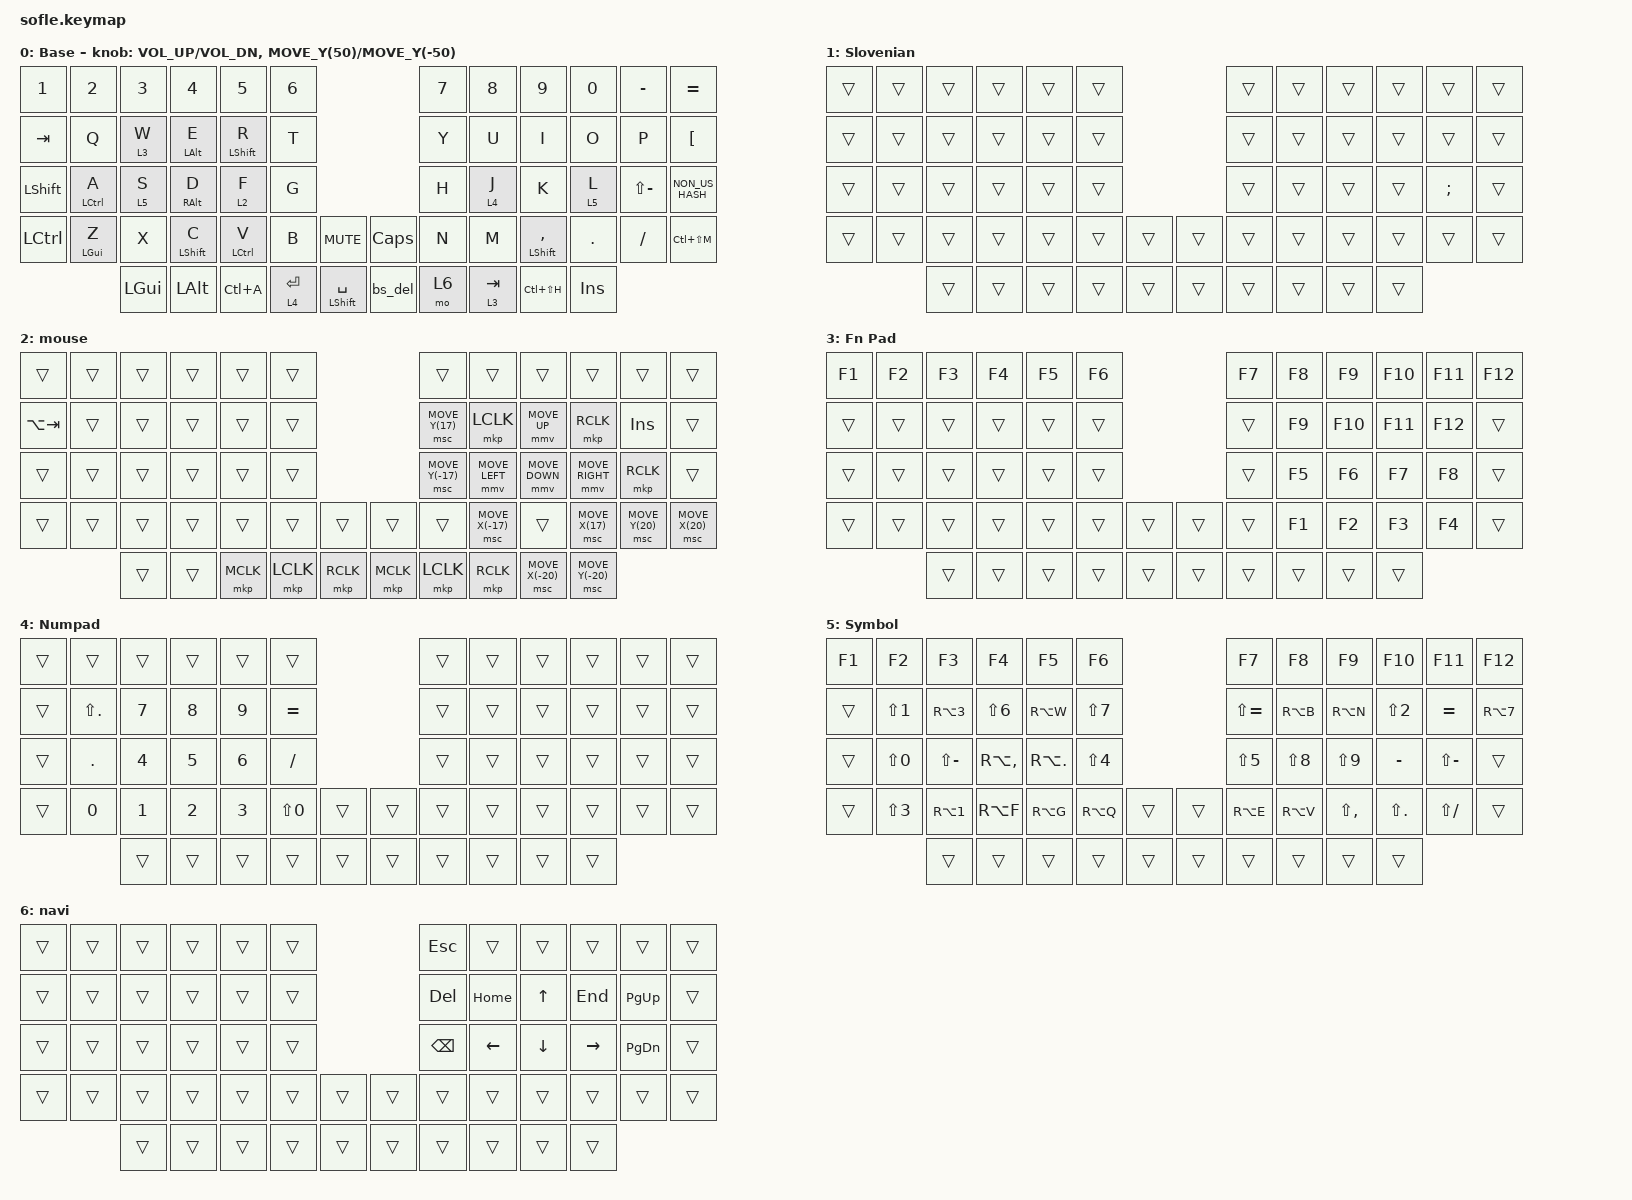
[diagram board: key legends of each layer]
/*
 * Copyright (c) 2020 The ZMK Contributors
 *
 * SPDX-License-Identifier: MIT 
 */

#include <dt-bindings/zmk/mouse.h>
#include <behaviors.dtsi>
#include <dt-bindings/zmk/bt.h>
#include <dt-bindings/zmk/keys.h>
#include <dt-bindings/zmk/pointing.h>
#include <dt-bindings/zmk/pointing.h>
#include <dt-bindings/zmk/pointing.h>

&nice_view_spi { cs-gpios = <&pro_micro 0 GPIO_ACTIVE_HIGH>; };
&mmv {
    time-to-max-speed-ms = <200>;
};

/ {
    combos {
        compatible = "zmk,combos";

        Lock {
            bindings = <&kp LG(LC(Q))>;
            key-positions = <0 11>;
        };

        bt_clear {
            bindings = <&bt BT_CLR>;
            key-positions = <12 13 21>;
        };
        bt_next {
            bindings = <&bt BT_NXT>;
            key-positions = <12 13 23>;
        };
        bt_prev {
            bindings = <&bt BT_PRV>;
            key-positions = <12 13 22>;
        };

        slovenian {
            bindings = <&tog 1>;
            key-positions = <23 35>;
        };

        backspace {
            bindings = <&kp BACKSPACE>;
            key-positions = <10 11>;
        };

        left_backspace {
            bindings = <&kp BACKSPACE>;
            key-positions = <4 5>;
        };

        left_del {
            bindings = <&kp DELETE>;
            key-positions = <3 4>;
        };

        del {
            bindings = <&kp DELETE>;
            key-positions = <21 10>;
        };

        sleep {
            bindings = <&kp LS(LA(S))>;
            key-positions = <49 36>;
        };

        win-print-screen {
            bindings = <&kp LS(LC(X))>;
            key-positions = <11 23>;
        };

        email {
            bindings = <&email>;
            key-positions = <2 3 4>;
        };

        mac-print-screen {
            bindings = <&kp LS(LG(NUMBER_4))>;
            key-positions = <0 12>;
        };

        esc {
            bindings = <&kp ESCAPE>;
            key-positions = <0 1>;
        };

        esc2 {
            bindings = <&kp ESCAPE>;
            key-positions = <6 7>;
        };

        esc3 {
            bindings = <&kp ESCAPE>;
            key-positions = <31 32 33>;
        };

        select-all {
            bindings = <&kp LC(A)>;
            key-positions = <31 32 33 34>;
        };

        caps-word {
            bindings = <&caps_word>;
            key-positions = <28 31>;
        };

      

        mouse {
            bindings = <&mo 3>;
            key-positions = <25 26 27 28>;
        };



        alt_tab {
            bindings = <&kp LA(TAB)>;
            key-positions = <12 13>;
        };

        alt_tab2 {
            bindings = <&kp LA(TAB)>;
            key-positions = <28 27 26>;
        };

      

    };

    behaviors {
        ht_h: ht_h {
            compatible = "zmk,behavior-hold-tap";
            bindings = <&kp>, <&kp>;
            flavor = "hold-preferred";
            #binding-cells = <2>;
            tapping-term-ms = <180>;
            hold-while-undecided;
        };

        ht_b: ht_b {
            compatible = "zmk,behavior-hold-tap";
            bindings = <&kp>, <&kp>;
            flavor = "balanced";
            #binding-cells = <2>;
            tapping-term-ms = <180>;
            hold-while-undecided;
        };

        hm: hm {
            compatible = "zmk,behavior-hold-tap";
            #binding-cells = <2>;
            tapping-term-ms = <250>;
            quick-tap-ms = <0>;
            flavor = "tap-preferred";
            bindings = <&kp>, <&kp>;
        };

        sticky: sticky {
            compatible = "zmk,behavior-sticky-key";
            bindings = <&kp>;
            #binding-cells = <1>;
            release-after-ms = <1000>;
            quick-release;
        };

        ht_bs_del: ht_bs_del {
            compatible = "zmk,behavior-hold-tap";
            bindings = <&mo>, <&bs_del>;
            flavor = "balanced";
            #binding-cells = <2>;
            tapping-term-ms = <180>;
            hold-while-undecided;
        };

        bs_del: bs_del {
            compatible = "zmk,behavior-mod-morph";
            bindings = <&kp BACKSPACE>, <&kp DELETE>;
            #binding-cells = <0>;
            mods = <(MOD_LSFT|MOD_RSFT)>;
        };

        qu_excl: qu_excl {
            compatible = "zmk,behavior-mod-morph";
            bindings = <&kp LS(MINUS)>, <&kp LS(N1)>;
            #binding-cells = <0>;
            mods = <(MOD_LSFT|MOD_RSFT)>;
        };

        htl_h: htl_h {
            compatible = "zmk,behavior-hold-tap";
            bindings = <&mo>, <&kp>;
            flavor = "hold-preferred";
            #binding-cells = <2>;
            tapping-term-ms = <180>;
            hold-while-undecided;
        };

        htl_b: htl_b {
            compatible = "zmk,behavior-hold-tap";
            bindings = <&mo>, <&kp>;
            flavor = "balanced";
            #binding-cells = <2>;
            tapping-term-ms = <180>;
            hold-while-undecided;
        };

       htl_t: htl_t {
            compatible = "zmk,behavior-hold-tap";
            bindings = <&mo>, <&kp>;
            #binding-cells = <2>;
            tapping-term-ms = <250>;
            quick-tap-ms = <0>;
            flavor = "tap-preferred";
        };

       scroll: scroll {
            compatible = "zmk,behavior-sensor-rotate-var";
            #sensor-binding-cells = <2>;
            bindings = <&msc>, <&msc>;
            tap-ms = <150>;     
        };

        mmvf:mmvf {
            compatible = "zmk,behavior-input-two-axis";
            #binding-cells = <1>;
            x-input-code = <INPUT_REL_X>;
            y-input-code = <INPUT_REL_Y>;
            time-to-max-speed-ms = <200>;
            acceleration-exponent = <1>;
        };
    };

    macros {
        email: email {
            compatible = "zmk,behavior-macro";
            #binding-cells = <0>;
            bindings = <&kp E &kp M &kp A &kp I &kp L &kp RA(V) &kp P &kp E &kp T &kp E &kp R &kp D &kp O &kp L &kp E &kp N &kp C &kp DOT &kp S &kp I>;
        };
    };

    keymap {
        compatible = "zmk,keymap";

        default_layer {
            display-name = "Base";

            bindings = <
&kp N1      &kp N2       &kp N3      &kp N4        &kp N5        &kp N6                                                &kp N7    &kp N8           &kp N9            &kp N0         &kp MINUS        &kp EQUAL
&kp TAB     &kp Q        &htl_t 3 W  &hm LALT E    &hm LSHIFT R  &kp T                                                 &kp Y     &kp U            &kp I             &kp O          &kp P            &kp LEFT_BRACKET
&kp LSHIFT  &hm LCTRL A  &htl_t 5 S  &hm RALT D    &htl_t 2 F    &kp G                                                 &kp H     &htl_t 4 J       &kp K             &htl_t 5 L     &kp LS(MINUS)    &kp NON_US_HASH
&kp LCTRL   &hm LGUI Z   &kp X       &hm LSHIFT C  &hm LCTRL V   &kp B           &kp C_MUTE              &kp CAPSLOCK  &kp N     &kp M            &hm LSHIFT COMMA  &kp DOT        &kp SLASH        &kp LC(LS(M)) 
                         &kp LGUI    &kp LALT      &kp LC(A)     &htl_h 4 ENTER  &ht_b LEFT_SHIFT SPACE  &bs_del       &mo 6     &htl_h 3 TAB     &kp LC(LS(H))     &kp INSERT         
            >;

            sensor-bindings = <&inc_dec_kp C_VOL_UP C_VOL_DN>, <&scroll MOVE_Y(50)  MOVE_Y(-50)>;
        };

        /* 1 */
        slo {
            display-name = "Slovenian";
            bindings = <
&trans  &trans  &trans  &trans  &trans  &trans                  &trans  &trans  &trans  &trans  &trans    &trans
&trans  &trans  &trans  &trans  &trans  &trans                  &trans  &trans  &trans  &trans  &trans    &trans
&trans  &trans  &trans  &trans  &trans  &trans                  &trans  &trans  &trans  &trans  &kp SEMI  &trans
&trans  &trans  &trans  &trans  &trans  &trans &trans  &trans   &trans  &trans  &trans  &trans  &trans    &trans
                   &trans  &trans  &trans  &trans     &trans  &trans  &trans  &trans  &trans  &trans
            >;
        };


        /* 2 */
        mouse {
            bindings = <
&trans       &trans   &trans  &trans  &trans     &trans                           &trans           &trans             &trans              &trans             &trans           &trans
&kp LA(TAB)  &trans   &trans  &trans  &trans     &trans                           &msc MOVE_Y(17)  &mkp LCLK           &mmv MOVE_UP        &mkp RCLK          &kp INSERT       &trans
&trans       &trans   &trans  &trans  &trans     &trans                           &msc MOVE_Y(-17) &mmv MOVE_LEFT      &mmv MOVE_DOWN      &mmv MOVE_RIGHT    &mkp RCLK        &trans
&trans       &trans   &trans  &trans  &trans     &trans     &trans     &trans     &trans           &msc MOVE_X(-17)    &trans              &msc MOVE_X(17)    &msc MOVE_Y(20)  &msc MOVE_X(20)
                      &trans  &trans  &mkp MCLK  &mkp LCLK  &mkp RCLK  &mkp MCLK  &mkp LCLK        &mkp RCLK           &msc MOVE_X(-20)    &msc MOVE_Y(-20)
            >;
        };


        /* 3 */
        fn-pad {
            display-name = "Fn Pad";
            bindings = <
&kp F1  &kp F2  &kp F3  &kp F4  &kp F5  &kp F6                  &kp F7  &kp F8  &kp F9   &kp F10  &kp F11  &kp F12
&trans  &trans  &trans  &trans  &trans  &trans                  &trans  &kp F9  &kp F10  &kp F11  &kp F12   &trans
&trans  &trans  &trans  &trans  &trans  &trans                  &trans  &kp F5  &kp F6   &kp F7   &kp F8    &trans
&trans  &trans  &trans  &trans  &trans  &trans  &trans  &trans  &trans  &kp F1  &kp F2   &kp F3   &kp F4    &trans
                   &trans  &trans  &trans  &trans     &trans  &trans  &trans  &trans  &trans  &trans
            >;
        };


        /* 4 */
        numpad {
            display-name = "Numpad";
            bindings = <
&trans  &trans      &trans  &trans  &trans  &trans                     &trans  &trans  &trans  &trans   &trans   &trans
&trans  &kp LS(DOT) &kp N7  &kp N8  &kp N9  &kp EQUAL                  &trans  &trans  &trans  &trans   &trans   &trans
&trans  &kp DOT     &kp N4  &kp N5  &kp N6  &kp SLASH                  &trans  &trans  &trans  &trans   &trans   &trans
&trans  &kp N0      &kp N1  &kp N2  &kp N3  &kp LS(N0)  &trans  &trans &trans  &trans  &trans  &trans   &trans   &trans
                    &trans  &trans  &trans  &trans      &trans  &trans &trans  &trans  &trans  &trans
            >;
        };

        /* 5 */
        symbol {
            display-name = "Symbol";
            bindings = <
&kp F1  &kp F2         &kp F3         &kp F4         &kp F5       &kp F6                     &kp F7         &kp F8      &kp F9         &kp F10      &kp F11        &kp F12
&trans  &kp LS(N1)     &kp RA(N3)     &kp LS(N6)     &kp RA(W)    &kp LS(N7)                 &kp LS(EQUAL)  &kp RA(B)   &kp RA(N)      &kp LS(N2)   &kp EQUAL      &kp RA(N7)
&trans  &kp LS(N0)     &kp LS(MINUS)  &kp RA(COMMA)  &kp RA(DOT)  &kp LS(N4)                 &kp LS(N5)     &kp LS(N8)  &kp LS(N9)     &kp MINUS    &kp LS(MINUS)  &trans
&trans  &kp LS(N3)     &kp RA(N1)     &kp RA(F)      &kp RA(G)    &kp RA(Q)  &trans  &trans  &kp RA(E)      &kp RA(V)   &kp LS(COMMA)  &kp LS(DOT)  &kp LS(SLASH)  &trans
                       &trans         &trans         &trans       &trans     &trans  &trans  &trans         &trans      &trans         &trans
            >;
        };


        /* 6 */
        navi {
            display-name = "navi";
            bindings = <
&trans  &trans  &trans  &trans  &trans  &trans                  &kp ESC        &trans      &trans      &trans        &trans      &trans
&trans  &trans  &trans  &trans  &trans  &trans                  &kp DELETE     &kp HOME    &kp UP      &kp END       &kp PG_UP      &trans
&trans  &trans  &trans  &trans  &trans  &trans                  &kp BACKSPACE  &kp LEFT    &kp DOWN    &kp RIGHT     &kp PG_DN  &trans
&trans  &trans  &trans  &trans  &trans  &trans  &trans  &trans  &trans         &trans      &trans      &trans        &trans      &trans
                &trans  &trans  &trans  &trans  &trans  &trans  &trans         &trans      &trans      &trans
            >;
        };
        
    };
};
